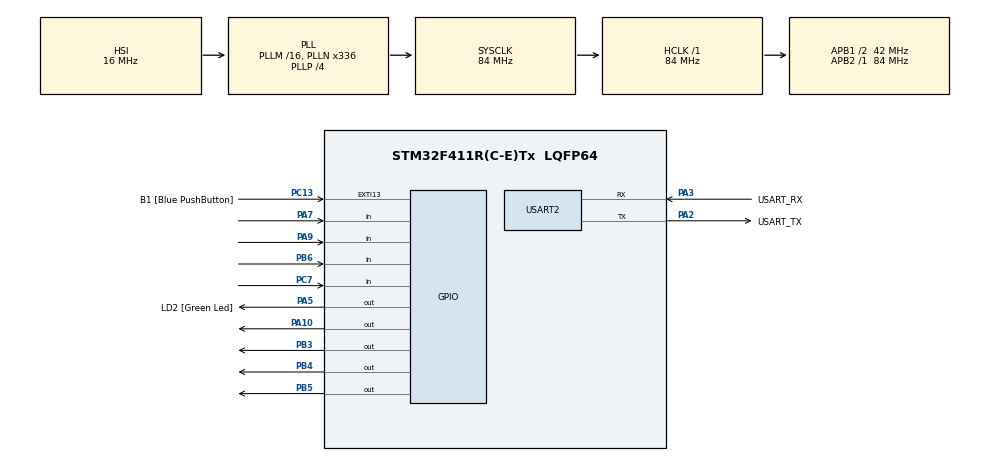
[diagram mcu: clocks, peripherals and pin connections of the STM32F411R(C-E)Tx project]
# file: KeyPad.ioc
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Mcu.Family=STM32F4
Mcu.Name=STM32F411R(C-E)Tx
Mcu.Package=LQFP64
NVIC.PriorityGroup=NVIC_PRIORITYGROUP_0
PA10.GPIO_ModeDefaultOutputPP=GPIO_MODE_OUTPUT_OD
PA10.GPIO_PuPd=GPIO_NOPULL
PA10.Signal=GPIO_Output
PA13.GPIO_Label=TMS
PA13.Mode=Serial_Wire
PA13.Signal=SYS_JTMS-SWDIO
PA14.GPIO_Label=TCK
PA14.Mode=Serial_Wire
PA14.Signal=SYS_JTCK-SWCLK
PA2.GPIO_Label=USART_TX
PA2.Mode=Asynchronous
PA2.Signal=USART2_TX
PA3.GPIO_Label=USART_RX
PA3.Mode=Asynchronous
PA3.Signal=USART2_RX
PA5.GPIO_Label=LD2 [Green Led]
PA5.Signal=GPIO_Output
PA7.GPIO_PuPd=GPIO_PULLUP
PA7.Signal=GPIO_Input
PA9.GPIO_PuPd=GPIO_PULLUP
PA9.Signal=GPIO_Input
PB3.GPIO_ModeDefaultOutputPP=GPIO_MODE_OUTPUT_OD
PB3.GPIO_PuPd=GPIO_NOPULL
PB3.Signal=GPIO_Output
PB4.GPIO_ModeDefaultOutputPP=GPIO_MODE_OUTPUT_OD
PB4.GPIO_PuPd=GPIO_NOPULL
PB4.Signal=GPIO_Output
PB5.GPIO_ModeDefaultOutputPP=GPIO_MODE_OUTPUT_OD
PB5.GPIO_PuPd=GPIO_NOPULL
PB5.Signal=GPIO_Output
PB6.GPIO_PuPd=GPIO_PULLUP
PB6.Signal=GPIO_Input
PC13-ANTI_TAMP.GPIO_Label=B1 [Blue PushButton]
PC13-ANTI_TAMP.GPIO_ModeDefaultEXTI=GPIO_MODE_IT_FALLING
PC13-ANTI_TAMP.Signal=GPXTI13
PC14-OSC32_IN.Mode=LSE-External-Oscillator
PC14-OSC32_IN.Signal=RCC_OSC32_IN
PC15-OSC32_OUT.Mode=LSE-External-Oscillator
PC15-OSC32_OUT.Signal=RCC_OSC32_OUT
PC7.GPIO_PuPd=GPIO_PULLUP
PC7.Signal=GPIO_Input
PH0\ -\ OSC_IN.Mode=HSE-External-Clock-Source
PH0\ -\ OSC_IN.Signal=RCC_OSC_IN
PH1\ -\ OSC_OUT.Mode=HSE-External-Clock-Source
PH1\ -\ OSC_OUT.Signal=RCC_OSC_OUT
ProjectManager.HeapSize=0x200
ProjectManager.StackSize=0x400
ProjectManager.TargetToolchain=STM32CubeIDE
RCC.48MHZClocksFreq_Value=84000000
RCC.AHBFreq_Value=84000000
RCC.APB1CLKDivider=RCC_HCLK_DIV2
RCC.APB1Freq_Value=42000000
RCC.APB1TimFreq_Value=84000000
RCC.APB2Freq_Value=84000000
RCC.APB2TimFreq_Value=84000000
RCC.CortexFreq_Value=84000000
RCC.FLatency-AdvancedSettings=FLASH_LATENCY_2
RCC.HCLKFreq_Value=84000000
RCC.HSE_VALUE=8000000
RCC.HSI_VALUE=16000000
RCC.PLLN=336
RCC.PLLP=RCC_PLLP_DIV4
RCC.SYSCLKFreq_VALUE=84000000
RCC.SYSCLKSource=RCC_SYSCLKSOURCE_PLLCLK
RCC.VCOOutputFreq_Value=336000000
USART2.VirtualMode=VM_ASYNC
board=NUCLEO-F411RE

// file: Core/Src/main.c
/* USER CODE BEGIN Header */
/**
  ******************************************************************************
  * @file           : main.c
  * @brief          : Main program body
  ******************************************************************************
  * @attention
  *
  * Copyright (c) 2023 STMicroelectronics.
  * All rights reserved.
  *
  * This software is licensed under terms that can be found in the LICENSE file
  * in the root directory of this software component.
  * If no LICENSE file comes with this software, it is provided AS-IS.
  *
  ******************************************************************************
  */
/* USER CODE END Header */
#include "main.h"

UART_HandleTypeDef huart2;

/* USER CODE BEGIN PV */
struct PortPin {
	GPIO_TypeDef *PORT;
	uint16_t PIN;
};

struct PortPin R[4] = { { GPIOA, GPIO_PIN_10 }, { GPIOB, GPIO_PIN_3 }, { GPIOB,
GPIO_PIN_5 }, { GPIOB, GPIO_PIN_4 } };

struct PortPin L[4] = { { GPIOA, GPIO_PIN_9 }, { GPIOC, GPIO_PIN_7 }, { GPIOB,
GPIO_PIN_6 }, { GPIOA, GPIO_PIN_7 } };

uint16_t ButtonMatrix = 0;

uint16_t current_button = 0;
uint16_t last_button = 0;
uint8_t press_status = 0;

uint8_t digit_state = 0;//64340500066 = 11 digits

/* USER CODE END PV */

void SystemClock_Config(void);
static void MX_GPIO_Init(void);
static void MX_USART2_UART_Init(void);
/* USER CODE BEGIN PFP */
void ReadMatrixButton_1Row();

/* USER CODE END PFP */

int main(void)
{

  /* MCU Configuration--------------------------------------------------------*/

  /* Reset of all peripherals, Initializes the Flash interface and the Systick. */
  HAL_Init();

  /* Configure the system clock */
  SystemClock_Config();

  /* Initialize all configured peripherals */
  MX_GPIO_Init();
  MX_USART2_UART_Init();

  /* Infinite loop */
  while (1)
  {

    /* USER CODE BEGIN 3 */
	  static uint32_t timestamp = 0;
	  if(HAL_GetTick() >= timestamp){
		  timestamp = HAL_GetTick() + 10;
		  ReadMatrixButton_1Row();
	  }

	  // check rising
	  current_button = ButtonMatrix;
	  if(current_button > 0 && last_button == 0){
		  press_status = 1;
	  }
	  else{
		  press_status = 0;
	  }
	  last_button = current_button;

	  //button = current_button
	  //0 = 8, 1 = 4, 2 = 64, 3 = 1024, 4 = 2, 5 = 32, 6 = 512, 7 = 1, 8 = 16, 9 = 256
	  //clear = 4096, ok = 32768

	  //digit_state
	  //0 = , 1 = 6, 2 = 64, 3 = 643, 4 = 6434, 5 = 64340, 6 = 643405, 7 = 6434050, 8 = 64340500, 9 = 643405000, 10 = 6434050006, 11 = 64340500066
	  //12 = wrong

	  switch(digit_state){
	  case 0:
		  if(press_status == 1)
		  {
			  HAL_GPIO_WritePin(GPIOA,GPIO_PIN_5,0);
			  if(current_button == 512) //6
			  {
				  digit_state += 1;
			  }
			  else if(current_button == 4096) //clear
			  {
				  digit_state = 0;
			  }
			  else if(current_button == 32768) //ok
			  {

			  }
			  else //wrong
			  {
				  digit_state = 12;
			  }
		  }
	  break;
	  case 1:
		  if(press_status == 1)
		  {
			  if(current_button == 2) //4
			  {
				  digit_state += 1;
			  }
			  else if(current_button == 4096) //clear
			  {
				  digit_state = 0;
			  }
			  else if(current_button == 32768) //ok
			  {

			  }
			  else //wrong
			  {
				  digit_state = 12;
			  }
		  }
	  break;
	  case 2:
		  if(press_status == 1)
		  {
			  if(current_button == 1024) //3
			  {
				  digit_state += 1;
			  }
			  else if(current_button == 4096) //clear
			  {
				  digit_state = 0;
			  }
			  else if(current_button == 32768) //ok
			  {

			  }
			  else //wrong
			  {
				  digit_state = 12;
			  }
		  }
	  break;
	  case 3:
		  if(press_status == 1)
		  {
			  if(current_button == 2) //4
			  {
				  digit_state += 1;
			  }
			  else if(current_button == 4096) //clear
			  {
				  digit_state = 0;
			  }
			  else if(current_button == 32768) //ok
			  {

			  }
			  else //wrong
			  {
				  digit_state = 12;
			  }
		  }
	  break;
	  case 4:
		  if(press_status == 1)
		  {
			  if(current_button == 8) //0
			  {
				  digit_state += 1;
			  }
			  else if(current_button == 4096) //clear
			  {
				  digit_state = 0;
			  }
			  else if(current_button == 32768) //ok
			  {

			  }
			  else //wrong
			  {
				  digit_state = 12;
			  }
		  }
	  break;
	  case 5:
		  if(press_status == 1)
		  {
			  if(current_button == 32) //5
			  {
				  digit_state += 1;
			  }
			  else if(current_button == 4096) //clear
			  {
				  digit_state = 0;
			  }
			  else if(current_button == 32768) //ok
			  {

			  }
			  else //wrong
			  {
				  digit_state = 12;
			  }
		  }
	  break;
	  case 6:
		  if(press_status == 1)
		  {
			  if(current_button == 8) //0
			  {
				  digit_state += 1;
			  }
			  else if(current_button == 4096) //clear
			  {
				  digit_state = 0;
			  }
			  else if(current_button == 32768) //ok
			  {

			  }
			  else //wrong
			  {
				  digit_state = 12;
			  }
		  }
	  break;
	  case 7:
		  if(press_status == 1)
		  {
			  if(current_button == 8) //0
			  {
				  digit_state += 1;
			  }
			  else if(current_button == 4096) //clear
			  {
				  digit_state = 0;
			  }
			  else if(current_button == 32768) //ok
			  {

			  }
			  else //wrong
			  {
				  digit_state = 12;
			  }
		  }
	  break;
	  case 8:
		  if(press_status == 1)
		  {
			  if(current_button == 8) //0
			  {
				  digit_state += 1;
			  }
			  else if(current_button == 4096) //clear
			  {
				  digit_state = 0;
			  }
			  else if(current_button == 32768) //ok
			  {

			  }
			  else //wrong
			  {
				  digit_state = 12;
			  }
		  }
	  break;
	  case 9:
		  if(press_status == 1)
		  {
			  if(current_button == 512) //6
			  {
				  digit_state += 1;
			  }
			  else if(current_button == 4096) //clear
			  {
				  digit_state = 0;
			  }
			  else if(current_button == 32768) //ok
			  {

			  }
			  else //wrong
			  {
				  digit_state = 12;
			  }
		  }
	  break;
	  case 10:
		  if(press_status == 1)
		  {
			  if(current_button == 512) //6
			  {
				  digit_state += 1;
			  }
			  else if(current_button == 4096) //clear
			  {
				  digit_state = 0;
			  }
			  else if(current_button == 32768) //ok
			  {

			  }
			  else //wrong
			  {
				  digit_state = 12;
			  }
		  }
	  break;
	  case 11:
		  if(press_status == 1)
		  {
			  if(current_button == 4096) //clear
			  {
				  digit_state = 0;
			  }
			  else if(current_button == 32768) //ok
			  {
				  HAL_GPIO_WritePin(GPIOA,GPIO_PIN_5,1);
				  digit_state = 0;
			  }
			  else //wrong
			  {
				  digit_state = 12;
			  }
		  }
	  break;
	  case 12:
		  if(press_status == 1)
		  {
			  if(current_button == 4096) //clear
			  {
				  digit_state = 0;
			  }
			  else if(current_button == 32768) //ok
			  {

			  }
			  else //wrong
			  {
			  }
		  }
	  break;

	  }

  }
  /* USER CODE END 3 */
}

void SystemClock_Config(void)
{
  RCC_OscInitTypeDef RCC_OscInitStruct = {0};
  RCC_ClkInitTypeDef RCC_ClkInitStruct = {0};

  /** Configure the main internal regulator output voltage
  */
  __HAL_RCC_PWR_CLK_ENABLE();
  __HAL_PWR_VOLTAGESCALING_CONFIG(PWR_REGULATOR_VOLTAGE_SCALE1);

  /** Initializes the RCC Oscillators according to the specified parameters
  * in the RCC_OscInitTypeDef structure.
  */
  RCC_OscInitStruct.OscillatorType = RCC_OSCILLATORTYPE_HSI;
  RCC_OscInitStruct.HSIState = RCC_HSI_ON;
  RCC_OscInitStruct.HSICalibrationValue = RCC_HSICALIBRATION_DEFAULT;
  RCC_OscInitStruct.PLL.PLLState = RCC_PLL_ON;
  RCC_OscInitStruct.PLL.PLLSource = RCC_PLLSOURCE_HSI;
  RCC_OscInitStruct.PLL.PLLM = 16;
  RCC_OscInitStruct.PLL.PLLN = 336;
  RCC_OscInitStruct.PLL.PLLP = RCC_PLLP_DIV4;
  RCC_OscInitStruct.PLL.PLLQ = 4;
  if (HAL_RCC_OscConfig(&RCC_OscInitStruct) != HAL_OK)
  {
    Error_Handler();
  }

  /** Initializes the CPU, AHB and APB buses clocks
  */
  RCC_ClkInitStruct.ClockType = RCC_CLOCKTYPE_HCLK|RCC_CLOCKTYPE_SYSCLK
                              |RCC_CLOCKTYPE_PCLK1|RCC_CLOCKTYPE_PCLK2;
  RCC_ClkInitStruct.SYSCLKSource = RCC_SYSCLKSOURCE_PLLCLK;
  RCC_ClkInitStruct.AHBCLKDivider = RCC_SYSCLK_DIV1;
  RCC_ClkInitStruct.APB1CLKDivider = RCC_HCLK_DIV2;
  RCC_ClkInitStruct.APB2CLKDivider = RCC_HCLK_DIV1;

  if (HAL_RCC_ClockConfig(&RCC_ClkInitStruct, FLASH_LATENCY_2) != HAL_OK)
  {
    Error_Handler();
  }
}

static void MX_USART2_UART_Init(void)
{

  huart2.Instance = USART2;
  huart2.Init.BaudRate = 115200;
  huart2.Init.WordLength = UART_WORDLENGTH_8B;
  huart2.Init.StopBits = UART_STOPBITS_1;
  huart2.Init.Parity = UART_PARITY_NONE;
  huart2.Init.Mode = UART_MODE_TX_RX;
  huart2.Init.HwFlowCtl = UART_HWCONTROL_NONE;
  huart2.Init.OverSampling = UART_OVERSAMPLING_16;
  if (HAL_UART_Init(&huart2) != HAL_OK)
  {
    Error_Handler();
  }

}

static void MX_GPIO_Init(void)
{
  GPIO_InitTypeDef GPIO_InitStruct = {0};

  /* GPIO Ports Clock Enable */
  __HAL_RCC_GPIOC_CLK_ENABLE();
  __HAL_RCC_GPIOH_CLK_ENABLE();
  __HAL_RCC_GPIOA_CLK_ENABLE();
  __HAL_RCC_GPIOB_CLK_ENABLE();

  /*Configure GPIO pin Output Level */
  HAL_GPIO_WritePin(GPIOA, LD2_Pin|GPIO_PIN_10, GPIO_PIN_RESET);

  /*Configure GPIO pin Output Level */
  HAL_GPIO_WritePin(GPIOB, GPIO_PIN_3|GPIO_PIN_4|GPIO_PIN_5, GPIO_PIN_RESET);

  /*Configure GPIO pin : B1_Pin */
  GPIO_InitStruct.Pin = B1_Pin;
  GPIO_InitStruct.Mode = GPIO_MODE_IT_FALLING;
  GPIO_InitStruct.Pull = GPIO_NOPULL;
  HAL_GPIO_Init(B1_GPIO_Port, &GPIO_InitStruct);

  /*Configure GPIO pin : LD2_Pin */
  GPIO_InitStruct.Pin = LD2_Pin;
  GPIO_InitStruct.Mode = GPIO_MODE_OUTPUT_PP;
  GPIO_InitStruct.Pull = GPIO_NOPULL;
  GPIO_InitStruct.Speed = GPIO_SPEED_FREQ_LOW;
  HAL_GPIO_Init(LD2_GPIO_Port, &GPIO_InitStruct);

  /*Configure GPIO pins : PA7 PA9 */
  GPIO_InitStruct.Pin = GPIO_PIN_7|GPIO_PIN_9;
  GPIO_InitStruct.Mode = GPIO_MODE_INPUT;
  GPIO_InitStruct.Pull = GPIO_PULLUP;
  HAL_GPIO_Init(GPIOA, &GPIO_InitStruct);

  /*Configure GPIO pin : PC7 */
  GPIO_InitStruct.Pin = GPIO_PIN_7;
  GPIO_InitStruct.Mode = GPIO_MODE_INPUT;
  GPIO_InitStruct.Pull = GPIO_PULLUP;
  HAL_GPIO_Init(GPIOC, &GPIO_InitStruct);

  /*Configure GPIO pin : PA10 */
  GPIO_InitStruct.Pin = GPIO_PIN_10;
  GPIO_InitStruct.Mode = GPIO_MODE_OUTPUT_OD;
  GPIO_InitStruct.Pull = GPIO_NOPULL;
  GPIO_InitStruct.Speed = GPIO_SPEED_FREQ_LOW;
  HAL_GPIO_Init(GPIOA, &GPIO_InitStruct);

  /*Configure GPIO pins : PB3 PB4 PB5 */
  GPIO_InitStruct.Pin = GPIO_PIN_3|GPIO_PIN_4|GPIO_PIN_5;
  GPIO_InitStruct.Mode = GPIO_MODE_OUTPUT_OD;
  GPIO_InitStruct.Pull = GPIO_NOPULL;
  GPIO_InitStruct.Speed = GPIO_SPEED_FREQ_LOW;
  HAL_GPIO_Init(GPIOB, &GPIO_InitStruct);

  /*Configure GPIO pin : PB6 */
  GPIO_InitStruct.Pin = GPIO_PIN_6;
  GPIO_InitStruct.Mode = GPIO_MODE_INPUT;
  GPIO_InitStruct.Pull = GPIO_PULLUP;
  HAL_GPIO_Init(GPIOB, &GPIO_InitStruct);

}

/* USER CODE BEGIN 4 */
void ReadMatrixButton_1Row() {
	static uint8_t X = 0;
	register int i;
	for (i = 0; i < 4; i++) {
		if (HAL_GPIO_ReadPin(L[i].PORT, L[i].PIN)) {
			ButtonMatrix &= ~(1 << (X * 4 + i));
		} else {
			ButtonMatrix |= 1 << (X * 4 + i);
		}
	}
	HAL_GPIO_WritePin(R[X].PORT, R[X].PIN, 1);
	HAL_GPIO_WritePin(R[(X + 1) % 4].PORT, R[(X + 1) % 4].PIN, 0);
	X++;
	X %= 4;
}

/* USER CODE END 4 */

void Error_Handler(void)
{
  __disable_irq();
  while (1)
  {
  }
}
